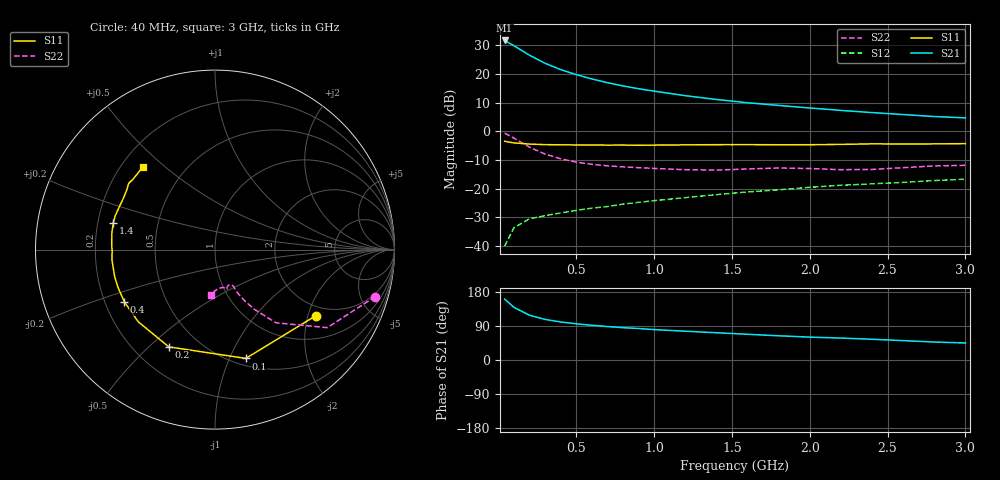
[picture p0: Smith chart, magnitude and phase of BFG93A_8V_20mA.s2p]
! Filename:  BFG93AG.S2P  Version:  2.0
! Philips part #: BFG 93A  Date: Jun 1990
! Bias condition: Vce=8V, Ic=20mA
! IN LINE PINNING: same data as with cross emitter pinning.
#  MHz  S  MA  R  50
! Freq  S11  S21  S12  S22  !GUM [dB]
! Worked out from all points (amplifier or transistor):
!   21 points, 40 MHz to 3 GHz, reference 50 ohm
!   highest |S21| = 31.7 dB at 40 MHz (marker M1)
!   |S21| within 3 dB of that: start of sweep to 135.1 MHz
!   unconditionally stable (mu >= 1): 851.1 MHz to end of sweep
!   at 300 MHz: K = 0.56, MSG = 26.5 dB, |S12| = -29.4 dB
!   at 1 GHz: K = 1.05, MAG = 17.7 dB, |S12| = -24.2 dB
!   at 3 GHz: K = 1.23, MAG = 7.8 dB, |S12| = -16.7 dB
!   S11 on the Smith chart (normalised r, x): 40 MHz: 1.68, -2.25; 100 MHz: 0.57, -1.15; 200 MHz: 0.34, -0.58; 400 MHz: 0.28, -0.25; 1.4 GHz: 0.26, +0.12; 3 GHz: 0.29, +0.42
40  0.672 -33.2  38.34 160.9  0.01 75.5  0.931 -16.3
100  0.63 -74.2  31.02 138.9  0.021 60.2  0.762 -34.8
200  0.6 -115.4  21.19 118.1  0.03 48.4  0.531 -50.2
300  0.587 -136.8  15.33 107.2  0.034 46.4  0.402 -56.4
400  0.583 -150.1  11.92 100.4  0.038 46.5  0.333 -59.8
500  0.58 -158.7  9.746 95.5  0.042 48.4  0.291 -61.6
600  0.579 -164.8  8.196 91.6  0.046 50.1  0.267 -62.7
700  0.576 -170.4  7.051 88.3  0.049 52.5  0.251 -63.0
800  0.577 -174.7  6.19 85.3  0.054 54.1  0.241 -63.2
900  0.573 -178.9  5.536 83.1  0.058 55.2  0.233 -63.2
1000  0.576 177.4  5.023 80.2  0.062 56.3  0.226 -63.4
1200  0.582 170.8  4.187 76.0  0.07 58.6  0.215 -65.6
1400  0.586 165.5  3.596 71.9  0.079 59.8  0.212 -69.8
1600  0.587 161.2  3.151 67.9  0.088 60.2  0.221 -72.4
1800  0.584 155.7  2.833 63.9  0.096 60.7  0.23 -72.9
2000  0.585 150.7  2.554 60.4  0.106 61.6  0.225 -74.1
2200  0.593 146.0  2.319 57.9  0.115 61.1  0.215 -78.4
2400  0.606 142.6  2.125 54.7  0.122 61.5  0.217 -85.3
2600  0.602 139.0  1.963 51.1  0.129 61.8  0.233 -91.1
2800  0.605 135.3  1.812 47.4  0.139 62.0  0.25 -93.6
3000  0.611 131.3  1.718 44.9  0.147 59.1  0.256 -95.5
